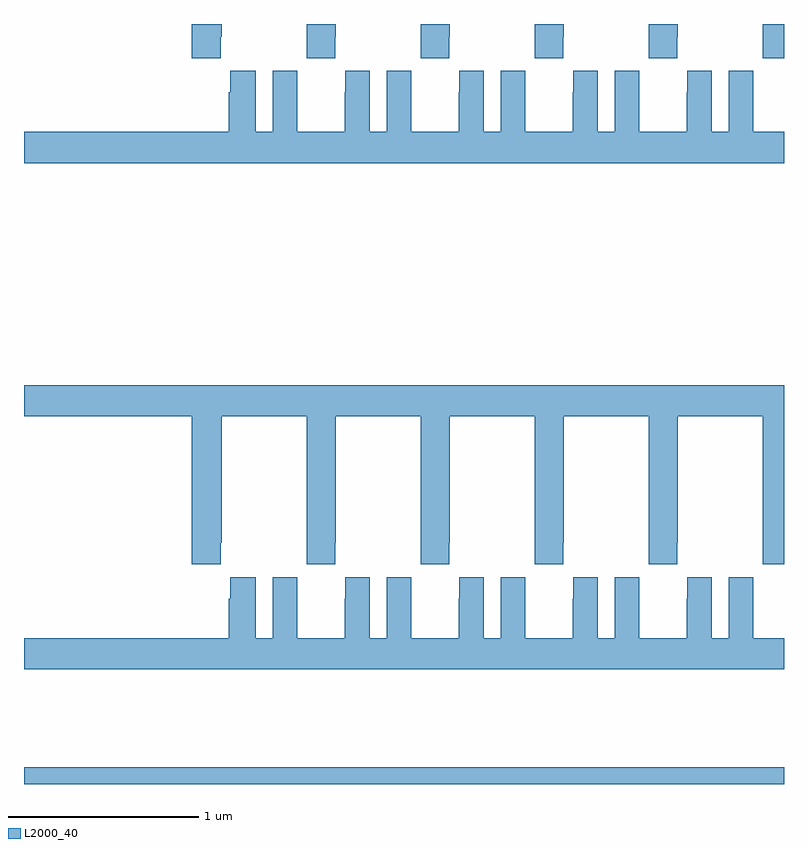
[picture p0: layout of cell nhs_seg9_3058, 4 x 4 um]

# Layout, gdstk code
import gdstk
lib = gdstk.Library(unit=1e-6, precision=1e-09)
def R(c, l, rs):  # rectangles x0, y0, x1, y1
    for r in rs: c.add(gdstk.rectangle(r[:2], r[2:], *l))
def P(c, l, *ps):  # polygons
    for p in ps: c.add(gdstk.Polygon(p, *l))
L2000_40 = (2000, 40)

nhs_seg9_3058 = lib.new_cell('nhs_seg9_3058')
R(nhs_seg9_3058, L2000_40, [(287,1178.5,291,1178.588)])
P(nhs_seg9_3058, L2000_40, [(288.035,1182.433),(288.042,1182.433),(288.042,1182.5),(287.882,1182.5),(287.882,1182.321),(288.035,1182.321)],
  [(288.639,1182.433),(288.642,1182.433),(288.642,1182.5),(288.487,1182.5),(288.487,1182.433),(288.489,1182.433),(288.489,1182.321),(288.639,1182.321)],
  [(291,1182.5),(290.887,1182.5),(290.887,1182.433),(290.889,1182.433),(290.889,1182.321),(291,1182.321)],
  [(290.439,1182.433),(290.442,1182.433),(290.442,1182.5),(290.287,1182.5),(290.287,1182.433),(290.289,1182.433),(290.289,1182.321),(290.439,1182.321)],
  [(289.839,1182.433),(289.842,1182.433),(289.842,1182.5),(289.687,1182.5),(289.687,1182.433),(289.689,1182.433),(289.689,1182.321),(289.839,1182.321)],
  [(289.239,1182.433),(289.242,1182.433),(289.242,1182.5),(289.087,1182.5),(289.087,1182.433),(289.089,1182.433),(289.089,1182.321),(289.239,1182.321)],
  [(290.49,1182.253),(290.49,1182.14),(290.489,1182.14),(290.489,1181.932),(290.239,1181.932),(290.239,1182.14),(290.238,1182.14),(290.238,1182.253),(290.108,1182.253),(290.108,1181.932),(290.02,1181.932),(290.02,1182.253),(289.89,1182.253),(289.89,1182.14),(289.889,1182.14),(289.889,1181.932),(289.639,1181.932),(289.639,1182.14),(289.638,1182.14),(289.638,1182.253),(289.508,1182.253),(289.508,1181.932),(289.42,1181.932),(289.42,1182.253),(289.29,1182.253),(289.29,1182.14),(289.289,1182.14),(289.289,1181.932),(289.039,1181.932),(289.039,1182.14),(289.038,1182.14),(289.038,1182.253),(288.908,1182.253),(288.908,1181.932),(288.82,1181.932),(288.82,1182.253),(288.69,1182.253),(288.69,1182.14),(288.689,1182.14),(288.689,1181.932),(288.439,1181.932),(288.439,1182.14),(288.438,1182.14),(288.438,1182.253),(288.308,1182.253),(288.308,1181.932),(288.22,1181.932),(288.22,1182.253),(288.086,1182.253),(288.086,1182.14),(288.077,1182.14),(288.077,1181.932),(287,1181.932),(287,1181.768),(291,1181.768),(291,1181.932),(290.839,1181.932),(290.839,1182.14),(290.838,1182.14),(290.838,1182.253),(290.708,1182.253),(290.708,1181.932),(290.62,1181.932),(290.62,1182.253)],
  [(287,1180.436),(287.882,1180.436),(287.882,1179.657),(288.035,1179.657),(288.035,1179.769),(288.042,1179.769),(288.042,1180.436),(288.487,1180.436),(288.487,1179.769),(288.489,1179.769),(288.489,1179.657),(288.639,1179.657),(288.639,1179.769),(288.642,1179.769),(288.642,1180.436),(289.087,1180.436),(289.087,1179.769),(289.089,1179.769),(289.089,1179.657),(289.239,1179.657),(289.239,1179.769),(289.242,1179.769),(289.242,1180.436),(289.687,1180.436),(289.687,1179.769),(289.689,1179.769),(289.689,1179.657),(289.839,1179.657),(289.839,1179.769),(289.842,1179.769),(289.842,1180.436),(290.287,1180.436),(290.287,1179.769),(290.289,1179.769),(290.289,1179.657),(290.439,1179.657),(290.439,1179.769),(290.442,1179.769),(290.442,1180.436),(290.887,1180.436),(290.887,1179.769),(290.889,1179.769),(290.889,1179.657),(291,1179.657),(291,1180.6),(287,1180.6)],
  [(290.238,1179.476),(290.238,1179.589),(290.108,1179.589),(290.108,1179.268),(290.02,1179.268),(290.02,1179.589),(289.89,1179.589),(289.89,1179.476),(289.889,1179.476),(289.889,1179.268),(289.639,1179.268),(289.639,1179.476),(289.638,1179.476),(289.638,1179.589),(289.508,1179.589),(289.508,1179.268),(289.42,1179.268),(289.42,1179.589),(289.29,1179.589),(289.29,1179.476),(289.289,1179.476),(289.289,1179.268),(289.039,1179.268),(289.039,1179.476),(289.038,1179.476),(289.038,1179.589),(288.908,1179.589),(288.908,1179.268),(288.82,1179.268),(288.82,1179.589),(288.69,1179.589),(288.69,1179.476),(288.689,1179.476),(288.689,1179.268),(288.439,1179.268),(288.439,1179.476),(288.438,1179.476),(288.438,1179.589),(288.308,1179.589),(288.308,1179.268),(288.22,1179.268),(288.22,1179.589),(288.086,1179.589),(288.086,1179.476),(288.077,1179.476),(288.077,1179.268),(287,1179.268),(287,1179.104),(291,1179.104),(291,1179.268),(290.839,1179.268),(290.839,1179.476),(290.838,1179.476),(290.838,1179.589),(290.708,1179.589),(290.708,1179.268),(290.62,1179.268),(290.62,1179.589),(290.49,1179.589),(290.49,1179.476),(290.489,1179.476),(290.489,1179.268),(290.239,1179.268),(290.239,1179.476)])

lib.write_gds('nhs_seg9_3058.gds')
